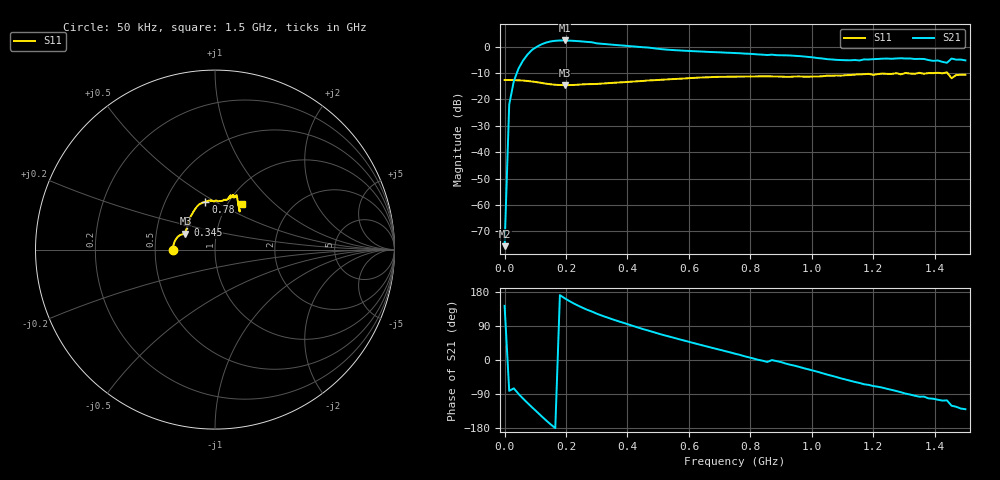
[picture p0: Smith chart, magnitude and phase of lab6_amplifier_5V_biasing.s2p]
# HZ S RI R 50
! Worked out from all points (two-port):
!   101 points, 50 kHz to 1.5 GHz, reference 50 ohm
!   highest |S21| = 2.38 dB at 195 MHz (marker M1); lowest = -75.6 dB at 50 kHz (marker M2)
!   |S21| within 3 dB of the highest: 96.83 MHz to 488.7 MHz (391.9 MHz wide, 134 % of centre)
!   lowest |S11| = -14.6 dB at 195 MHz (marker M3), VSWR 1.46, Z = 35.4 + j6.53 ohm
!   |S11| at or under -10 dB: start of sweep to 1.303 GHz; 1.308 GHz to 1.346 GHz (37.14 MHz wide, 2.8 % of centre); 1.442 GHz to end of sweep (the widest 3 of 6)
!   S12 and S22 are empty: the file has one direction only
!   S11 on the Smith chart (normalised r, x): 50 kHz: 0.62, +0.00; 345 MHz: 0.71, +0.20; 780 MHz: 0.78, +0.45; 1.5 GHz: 1.17, +0.64
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50000  -0.2343 0.00054  -0.000132 9.97e-05  0 0  0 0
1.50495e7  -0.2331 0.0127  0.012 -0.0794  0 0  0 0
3.0049e7  -0.2312 0.0256  0.0584 -0.2149  0 0  0 0
4.50485e7  -0.2274 0.0385  0.00528 -0.3822  0 0  0 0
7.50475e7  -0.2151 0.0622  -0.2881 -0.6548  0 0  0 0
1.050465e8  -0.1977 0.079  -0.7249 -0.6854  0 0  0 0
1.20046e8  -0.1882 0.0835  -0.9429 -0.5861  0 0  0 0
1.50045e8  -0.1734 0.0868  -1.241 -0.2219  0 0  0 0
1.950435e8  -0.1644 0.0891  -1.258 0.3814  0 0  0 0
2.550415e8  -0.1628 0.1046  -0.9259 0.8483  0 0  0 0
3.450385e8  -0.1535 0.1362  -0.3601 1.039  0 0  0 0
4.20036e8  -0.1426 0.1657  0.0112 1.012  0 0  0 0
5.10033e8  -0.1269 0.1994  0.3453 0.8319  0 0  0 0
6.30029e8  -0.1009 0.239  0.6101 0.5414  0 0  0 0
7.50025e8  -0.0624 0.2632  0.7271 0.2175  0 0  0 0
7.80024e8  -0.0538 0.2662  0.7296 0.1303  0 0  0 0
1.005016e9  0.0273 0.2711  0.5526 -0.2948  0 0  0 0
1.260008e9  0.0891 0.2911  0.114 -0.5787  0 0  0 0
1.365004e9  0.1056 0.2892  -0.0677 -0.5821  0 0  0 0
1.440002e9  0.1205 0.3037  -0.1422 -0.4754  0 0  0 0
1.455002e9  0.1375 0.2115  -0.3039 -0.5126  0 0  0 0
1.5e9  0.152 0.2519  -0.3529 -0.4231  0 0  0 0
